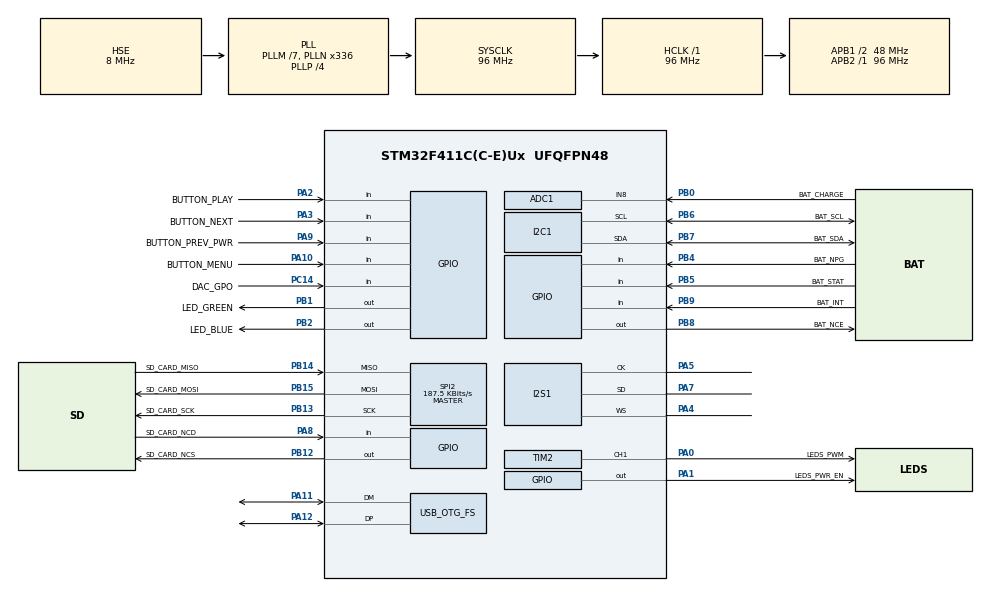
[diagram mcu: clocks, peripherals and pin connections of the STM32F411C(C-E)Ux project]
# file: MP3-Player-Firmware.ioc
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ADC1.Channel-1\#ChannelRegularConversion=ADC_CHANNEL_8
ADC1.NbrOfConversionFlag=1
ADC1.Rank-1\#ChannelRegularConversion=1
ADC1.SamplingTime-1\#ChannelRegularConversion=ADC_SAMPLETIME_3CYCLES
ADC1.master=1
Dma.Request0=TIM2_CH1
Dma.Request1=SPI1_TX
Dma.SPI1_TX.1.Direction=DMA_MEMORY_TO_PERIPH
Dma.SPI1_TX.1.FIFOMode=DMA_FIFOMODE_DISABLE
Dma.SPI1_TX.1.Instance=DMA2_Stream2
Dma.SPI1_TX.1.MemDataAlignment=DMA_MDATAALIGN_HALFWORD
Dma.SPI1_TX.1.MemInc=DMA_MINC_ENABLE
Dma.SPI1_TX.1.Mode=DMA_CIRCULAR
Dma.SPI1_TX.1.PeriphDataAlignment=DMA_PDATAALIGN_HALFWORD
Dma.SPI1_TX.1.PeriphInc=DMA_PINC_DISABLE
Dma.SPI1_TX.1.Priority=DMA_PRIORITY_VERY_HIGH
Dma.TIM2_CH1.0.Direction=DMA_MEMORY_TO_PERIPH
Dma.TIM2_CH1.0.FIFOMode=DMA_FIFOMODE_DISABLE
Dma.TIM2_CH1.0.Instance=DMA1_Stream5
Dma.TIM2_CH1.0.MemDataAlignment=DMA_MDATAALIGN_WORD
Dma.TIM2_CH1.0.MemInc=DMA_MINC_ENABLE
Dma.TIM2_CH1.0.Mode=DMA_NORMAL
Dma.TIM2_CH1.0.PeriphDataAlignment=DMA_PDATAALIGN_WORD
Dma.TIM2_CH1.0.PeriphInc=DMA_PINC_DISABLE
Dma.TIM2_CH1.0.Priority=DMA_PRIORITY_LOW
FATFS._FS_LOCK=4
FATFS._USE_FASTSEEK=0
FATFS._USE_LFN=1
FATFS._USE_MKFS=0
I2S1.AudioFreq=I2S_AUDIOFREQ_48K
I2S1.DataFormat=I2S_DATAFORMAT_32B
I2S1.ErrorAudioFreq=0.0 %
I2S1.FullDuplexMode=I2S_FULLDUPLEXMODE_DISABLE
I2S1.Instance=SPI$Index
I2S1.RealAudioFreq=48.0 KHz
I2S1.VirtualMode=I2S_MODE_MASTER
Mcu.Family=STM32F4
Mcu.Name=STM32F411C(C-E)Ux
Mcu.Package=UFQFPN48
NVIC.DMA1_Stream5_IRQn=true\:0\:0\:false\:false\:true\:false\:true\:true
NVIC.DMA2_Stream2_IRQn=true\:0\:0\:false\:false\:true\:false\:true\:true
NVIC.PriorityGroup=NVIC_PRIORITYGROUP_4
PA0-WKUP.GPIO_Label=LEDS_PWM
PA0-WKUP.Signal=S_TIM2_CH1_ETR
PA1.GPIO_Label=LEDS_PWR_EN
PA1.Signal=GPIO_Output
PA10.GPIO_Label=BUTTON_MENU
PA10.Signal=GPIO_Input
PA11.Mode=Device_Only
PA11.Signal=USB_OTG_FS_DM
PA12.Mode=Device_Only
PA12.Signal=USB_OTG_FS_DP
PA13.Mode=Trace_Asynchronous_SW
PA13.Signal=SYS_JTMS-SWDIO
PA14.Mode=Trace_Asynchronous_SW
PA14.Signal=SYS_JTCK-SWCLK
PA2.GPIO_Label=BUTTON_PLAY
PA2.Signal=GPIO_Input
PA3.GPIO_Label=BUTTON_NEXT
PA3.Signal=GPIO_Input
PA4.Mode=Half_Duplex_Master
PA4.Signal=I2S1_WS
PA5.Mode=Half_Duplex_Master
PA5.Signal=I2S1_CK
PA7.Mode=Half_Duplex_Master
PA7.Signal=I2S1_SD
PA8.GPIO_Label=SD_CARD_NCD
PA8.Signal=GPIO_Input
PA9.GPIO_Label=BUTTON_PREV_PWR
PA9.Signal=GPIO_Input
PB0.GPIO_Label=BAT_CHARGE
PB0.Signal=ADCx_IN8
PB1.GPIO_Label=LED_GREEN
PB1.Signal=GPIO_Output
PB12.GPIO_Label=SD_CARD_NCS
PB12.PinState=GPIO_PIN_SET
PB12.Signal=GPIO_Output
PB13.GPIO_Label=SD_CARD_SCK
PB13.Mode=Full_Duplex_Master
PB13.Signal=SPI2_SCK
PB14.GPIO_Label=SD_CARD_MISO
PB14.Mode=Full_Duplex_Master
PB14.Signal=SPI2_MISO
PB15.GPIO_Label=SD_CARD_MOSI
PB15.Mode=Full_Duplex_Master
PB15.Signal=SPI2_MOSI
PB2.GPIO_Label=LED_BLUE
PB2.Signal=GPIO_Output
PB3.Mode=Trace_Asynchronous_SW
PB3.Signal=SYS_JTDO-SWO
PB4.GPIO_Label=BAT_NPG
PB4.Signal=GPIO_Input
PB5.GPIO_Label=BAT_STAT
PB5.Signal=GPIO_Input
PB6.GPIO_Label=BAT_SCL
PB6.Mode=I2C
PB6.Signal=I2C1_SCL
PB7.GPIO_Label=BAT_SDA
PB7.Mode=I2C
PB7.Signal=I2C1_SDA
PB8.GPIO_Label=BAT_NCE
PB8.Signal=GPIO_Output
PB9.GPIO_Label=BAT_INT
PB9.Signal=GPIO_Input
PC14-OSC32_IN.GPIO_Label=DAC_GPO
PC14-OSC32_IN.Signal=GPIO_Input
PH0\ -\ OSC_IN.Mode=HSE-External-Oscillator
PH0\ -\ OSC_IN.Signal=RCC_OSC_IN
PH1\ -\ OSC_OUT.Mode=HSE-External-Oscillator
PH1\ -\ OSC_OUT.Signal=RCC_OSC_OUT
ProjectManager.HeapSize=0x200
ProjectManager.StackSize=0x400
ProjectManager.TargetToolchain=Makefile
RCC.48MHZClocksFreq_Value=48000000.00000001
RCC.AHBFreq_Value=96000000.00000001
RCC.APB1CLKDivider=RCC_HCLK_DIV2
RCC.APB1Freq_Value=48000000.00000001
RCC.APB1TimFreq_Value=96000000.00000001
RCC.APB2Freq_Value=96000000.00000001
RCC.APB2TimFreq_Value=96000000.00000001
RCC.CortexFreq_Value=96000000.00000001
RCC.HCLKFreq_Value=96000000.00000001
RCC.HSE_VALUE=8000000
RCC.HSI_VALUE=16000000
RCC.LSE_VALUE=32768
RCC.PLLI2SM=8
RCC.PLLI2SN=384
RCC.PLLI2SR=5
RCC.PLLM=7
RCC.PLLN=336
RCC.PLLP=RCC_PLLP_DIV4
RCC.PLLQ=8
RCC.SYSCLKFreq_VALUE=96000000.00000001
RCC.SYSCLKSource=RCC_SYSCLKSOURCE_PLLCLK
RCC.VCOOutputFreq_Value=384000000.00000006
SH.ADCx_IN8.0=ADC1_IN8,IN8
SH.S_TIM2_CH1_ETR.0=TIM2_CH1,PWM Generation1 CH1
SPI2.BaudRatePrescaler=SPI_BAUDRATEPRESCALER_256
SPI2.CalculateBaudRate=187.5 KBits/s
SPI2.Direction=SPI_DIRECTION_2LINES
SPI2.Mode=SPI_MODE_MASTER
SPI2.VirtualType=VM_MASTER
TIM2.AutoReloadPreload=TIM_AUTORELOAD_PRELOAD_DISABLE
TIM2.Channel-PWM\ Generation1\ CH1=TIM_CHANNEL_1
TIM2.Period=120-1
TIM5.Prescaler=96-1
USB_OTG_FS.VirtualMode=Device_Only
VP_FATFS_VS_Generic.Mode=User_defined
VP_TIM5_VS_ClockSourceINT.Mode=Internal
board=custom

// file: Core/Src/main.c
/* USER CODE BEGIN Header */
/**
  ******************************************************************************
  * @file           : main.c
  * @brief          : Main program body
  ******************************************************************************
  * @attention
  *
  * Copyright (c) 2026 STMicroelectronics.
  * All rights reserved.
  *
  * This software is licensed under terms that can be found in the LICENSE file
  * in the root directory of this software component.
  * If no LICENSE file comes with this software, it is provided AS-IS.
  *
  ******************************************************************************
  */
/* USER CODE END Header */
#include "main.h"
#include "adc.h"
#include "dma.h"
#include "fatfs.h"
#include "i2c.h"
#include "i2s.h"
#include "spi.h"
#include "tim.h"
#include "usb_otg.h"
#include "gpio.h"

/* USER CODE BEGIN Includes */
#include "bq24259.h"
#include "buttons.h"
#include "status_leds.h"
#include "ws2812b.h"
#include "sd_card_spi.h"
#include "tad5242.h"
#include "timing.h"

#include "mp3_test.h"

#include <stdint.h>
#include <string.h>
#include <math.h>
/* USER CODE END Includes */

void SystemClock_Config(void);

int main(void)
{

  /* MCU Configuration--------------------------------------------------------*/

  /* Reset of all peripherals, Initializes the Flash interface and the Systick. */
  HAL_Init();

  /* Configure the system clock */
  SystemClock_Config();

  /* Initialize all configured peripherals */
  MX_GPIO_Init();
  MX_DMA_Init();
  MX_I2C1_Init();
  MX_I2S1_Init();
  MX_SPI2_Init();
  MX_TIM2_Init();
  MX_USB_OTG_FS_PCD_Init();
  MX_ADC1_Init();
  MX_FATFS_Init();
  MX_TIM5_Init();
  /* USER CODE BEGIN 2 */
  bq24259_init();
  buttons_init();
  status_leds_init();
  ws2812b_init();
  tad5242_init();
  timing_init();
  /* USER CODE END 2 */

  /* Infinite loop */
  /* USER CODE BEGIN WHILE */
  // bq24259_status_t status;
  // bq24259_fault_t fault;
  status_leds_set_mode(STATUS_LED_GREEN, STATUS_LED_MODE_BLINK_SLOW);
  status_leds_set_mode(STATUS_LED_BLUE, STATUS_LED_MODE_BLINK_FAST);

  ws2812b_set_colour(WS2812B_LED_LEFT, 255, 0, 0);
  ws2812b_set_colour(WS2812B_LED_RIGHT, 0, 0, 255);
  ws2812b_set_brightness(WS2812B_LED_LEFT, 30);
  ws2812b_set_brightness(WS2812B_LED_RIGHT, 30);
  ws2812b_update();

  FATFS fs;
  if (f_mount(&fs, "", 1) != FR_OK) {
      HAL_Delay(100);
      HAL_NVIC_SystemReset();
  }

  mp3_test_run("the_people.mp3");

  while (1)
  {
    /* USER CODE END WHILE */

  }
}

void SystemClock_Config(void)
{
  RCC_OscInitTypeDef RCC_OscInitStruct = {0};
  RCC_ClkInitTypeDef RCC_ClkInitStruct = {0};

  /** Configure the main internal regulator output voltage
  */
  __HAL_RCC_PWR_CLK_ENABLE();
  __HAL_PWR_VOLTAGESCALING_CONFIG(PWR_REGULATOR_VOLTAGE_SCALE1);

  /** Initializes the RCC Oscillators according to the specified parameters
  * in the RCC_OscInitTypeDef structure.
  */
  RCC_OscInitStruct.OscillatorType = RCC_OSCILLATORTYPE_HSE;
  RCC_OscInitStruct.HSEState = RCC_HSE_ON;
  RCC_OscInitStruct.PLL.PLLState = RCC_PLL_ON;
  RCC_OscInitStruct.PLL.PLLSource = RCC_PLLSOURCE_HSE;
  RCC_OscInitStruct.PLL.PLLM = 7;
  RCC_OscInitStruct.PLL.PLLN = 336;
  RCC_OscInitStruct.PLL.PLLP = RCC_PLLP_DIV4;
  RCC_OscInitStruct.PLL.PLLQ = 8;
  if (HAL_RCC_OscConfig(&RCC_OscInitStruct) != HAL_OK)
  {
    Error_Handler();
  }

  /** Initializes the CPU, AHB and APB buses clocks
  */
  RCC_ClkInitStruct.ClockType = RCC_CLOCKTYPE_HCLK|RCC_CLOCKTYPE_SYSCLK
                              |RCC_CLOCKTYPE_PCLK1|RCC_CLOCKTYPE_PCLK2;
  RCC_ClkInitStruct.SYSCLKSource = RCC_SYSCLKSOURCE_PLLCLK;
  RCC_ClkInitStruct.AHBCLKDivider = RCC_SYSCLK_DIV1;
  RCC_ClkInitStruct.APB1CLKDivider = RCC_HCLK_DIV2;
  RCC_ClkInitStruct.APB2CLKDivider = RCC_HCLK_DIV1;

  if (HAL_RCC_ClockConfig(&RCC_ClkInitStruct, FLASH_LATENCY_3) != HAL_OK)
  {
    Error_Handler();
  }
}

void Error_Handler(void)
{
  __disable_irq();
  while (1)
  {
  }
}
